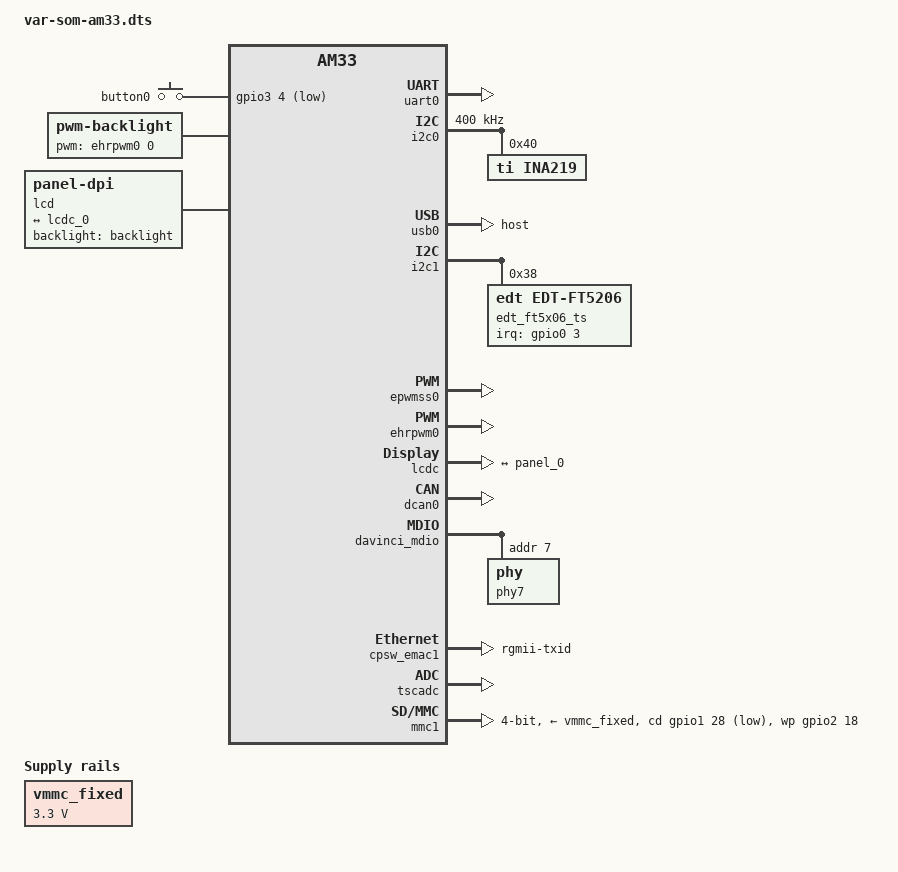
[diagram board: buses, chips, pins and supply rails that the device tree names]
// SPDX-License-Identifier: GPL-2.0-only
/*
 * Copyright (C) 2023 Variscite LTD - http://www.variscite.com/
 */

#include "var-som-am33.dtsi"

/ {
	chosen {
		stdout-path = &uart0;
	};

	vmmc_fixed: fixedregulator2 {
		compatible = "regulator-fixed";
		regulator-name = "vmmc_fixed";
		regulator-min-microvolt = <3300000>;
		regulator-max-microvolt = <3300000>;
		regulator-always-on;
		regulator-boot-on;
	};

	gpio_keys: gpio_keys0 {
		compatible = "gpio-keys";
		pinctrl-names = "default";
		pinctrl-0 = <&gpio_keys_s0>;
		#address-cells = <1>;
		#size-cells = <0>;

		switch1 {
			label = "button0";
			linux,code = <0x100>;
			gpios = <&gpio3 4 GPIO_ACTIVE_LOW>;
			gpio-key,wakeup;
		};
	};

	backlight: backlight {
		compatible = "pwm-backlight";
		pwms = <&ehrpwm0 0 50000 0>;
		brightness-levels = <0 58 61 66 75 90 125 170 255>;
		default-brightness-level = <8>;
	};

	panel {
		compatible = "panel-dpi";
		label = "lcd";

		pinctrl-names = "default";
		pinctrl-0 = <&lcd_pins>;
		backlight = <&backlight>;

		port {
			panel_0: endpoint@0 {
				remote-endpoint = <&lcdc_0>;
			};
		};

		panel-timing {
			clock-frequency = <30000000>;
			hactive = <800>;
			vactive = <480>;
			hfront-porch = <39>;
			hback-porch = <39>;
			hsync-len = <47>;
			vback-porch = <29>;
			vfront-porch = <13>;
			vsync-len = <2>;
			hsync-active = <1>;
			vsync-active = <1>;
			de-active = <1>;
			pixelclk-active = <1>;
		};
	};
};

&am33xx_pinmux {
	gpio_keys_s0: pinmux_gpio_keys_s0 {
		pinctrl-single,pins = <
			AM33XX_PADCONF(AM335X_PIN_MII1_RX_DV, PIN_INPUT_PULLUP, MUX_MODE7)	/* mii1_rxdv.gpio3_4 */
		>;
	};

	i2c0_pins: pinmux_i2c0_pins {
		pinctrl-single,pins = <
			AM33XX_PADCONF(AM335X_PIN_I2C0_SDA, PIN_INPUT_PULLUP, MUX_MODE0)	/* i2c0_sda.i2c0_sda */
			AM33XX_PADCONF(AM335X_PIN_I2C0_SCL, PIN_INPUT_PULLUP, MUX_MODE0)	/* i2c0_scl.i2c0_scl */
		>;
	};

	uart0_pins: pinmux_uart0_pins {
		pinctrl-single,pins = <
			AM33XX_PADCONF(AM335X_PIN_UART0_RXD, PIN_INPUT_PULLUP, MUX_MODE0)	/* uart0_rxd.uart0_rxd */
			AM33XX_PADCONF(AM335X_PIN_UART0_TXD, PIN_OUTPUT_PULLDOWN, MUX_MODE0)	/* uart0_txd.uart0_txd */
		>;
	};

	ehrpwm_pins: pinmux_ehrpwm_pins {
		pinctrl-single,pins = <
			AM33XX_PADCONF(AM335X_PIN_SPI0_SCLK, PIN_OUTPUT_PULLDOWN, MUX_MODE3)	/* spi0_sclk.ehrpwm0a */
		>;
	};

	cpsw_slave2_default: pinmux_cpsw_slave2_default {
		pinctrl-single,pins = <
			/* Slave 2 */
			AM33XX_PADCONF(AM335X_PIN_GPMC_A0, PIN_OUTPUT, MUX_MODE2)		/* gpmc_a0.rgmii2_tctl */
			AM33XX_PADCONF(AM335X_PIN_GPMC_A1, PIN_INPUT_PULLDOWN, MUX_MODE2)	/* gpmc_a1.rgmii2_rctl */
			AM33XX_PADCONF(AM335X_PIN_GPMC_A2, PIN_OUTPUT, MUX_MODE2)		/* gpmc_a2.rgmii2_td3 */
			AM33XX_PADCONF(AM335X_PIN_GPMC_A3, PIN_OUTPUT, MUX_MODE2)		/* gpmc_a3.rgmii2_td2 */
			AM33XX_PADCONF(AM335X_PIN_GPMC_A4, PIN_OUTPUT, MUX_MODE2)		/* gpmc_a4.rgmii2_td1 */
			AM33XX_PADCONF(AM335X_PIN_GPMC_A5, PIN_OUTPUT, MUX_MODE2)		/* gpmc_a5.rgmii2_td0 */
			AM33XX_PADCONF(AM335X_PIN_GPMC_A6, PIN_OUTPUT, MUX_MODE2)		/* gpmc_a6.rgmii2_tclk */
			AM33XX_PADCONF(AM335X_PIN_GPMC_A7, PIN_INPUT_PULLDOWN, MUX_MODE2)	/* gpmc_a7.rgmii2_rclk */
			AM33XX_PADCONF(AM335X_PIN_GPMC_A8, PIN_INPUT_PULLDOWN, MUX_MODE2)	/* gpmc_a8.rgmii2_rd3 */
			AM33XX_PADCONF(AM335X_PIN_GPMC_A9, PIN_INPUT_PULLDOWN, MUX_MODE2)	/* gpmc_a9.rgmii2_rd2 */
			AM33XX_PADCONF(AM335X_PIN_GPMC_A10, PIN_INPUT_PULLDOWN, MUX_MODE2)	/* gpmc_a10.rgmii2_rd1 */
			AM33XX_PADCONF(AM335X_PIN_GPMC_A11, PIN_INPUT_PULLDOWN, MUX_MODE2)	/* gpmc_a11.rgmii2_rd0 */
			AM33XX_PADCONF(AM335X_PIN_MII1_COL, PIN_INPUT_PULLDOWN, MUX_MODE1)	/* mii1_col.rmii2_refclk */
			AM33XX_PADCONF(AM335X_PIN_MII1_RX_CLK, PIN_INPUT_PULLUP, MUX_MODE7)	/* mii1_rxclk.gpio3_10 */
		>;
	};

	cpsw_slave2_sleep: pinmux_cpsw_slave2_sleep {
		pinctrl-single,pins = <
			/* Slave 2 reset value */
			AM33XX_PADCONF(AM335X_PIN_GPMC_A0, PIN_INPUT_PULLDOWN, MUX_MODE7)	/* gpmc_a0.gpio */
			AM33XX_PADCONF(AM335X_PIN_GPMC_A1, PIN_INPUT_PULLDOWN, MUX_MODE7)	/* gpmc_a1.gpio */
			AM33XX_PADCONF(AM335X_PIN_GPMC_A2, PIN_INPUT_PULLDOWN, MUX_MODE7)	/* gpmc_a2.gpio */
			AM33XX_PADCONF(AM335X_PIN_GPMC_A3, PIN_INPUT_PULLDOWN, MUX_MODE7)	/* gpmc_a3.gpio */
			AM33XX_PADCONF(AM335X_PIN_GPMC_A4, PIN_INPUT_PULLDOWN, MUX_MODE7)	/* gpmc_a4.gpio */
			AM33XX_PADCONF(AM335X_PIN_GPMC_A5, PIN_INPUT_PULLDOWN, MUX_MODE7)	/* gpmc_a5.gpio */
			AM33XX_PADCONF(AM335X_PIN_GPMC_A6, PIN_INPUT_PULLDOWN, MUX_MODE7)	/* gpmc_a6.gpio */
			AM33XX_PADCONF(AM335X_PIN_GPMC_A7, PIN_INPUT_PULLDOWN, MUX_MODE7)	/* gpmc_a7.gpio */
			AM33XX_PADCONF(AM335X_PIN_GPMC_A8, PIN_INPUT_PULLDOWN, MUX_MODE7)	/* gpmc_a8.gpio */
			AM33XX_PADCONF(AM335X_PIN_GPMC_A9, PIN_INPUT_PULLDOWN, MUX_MODE7)	/* gpmc_a9.gpio */
			AM33XX_PADCONF(AM335X_PIN_GPMC_A10, PIN_INPUT_PULLDOWN, MUX_MODE7)	/* gpmc_a10.gpio */
			AM33XX_PADCONF(AM335X_PIN_GPMC_A11, PIN_INPUT_PULLDOWN, MUX_MODE7)	/* gpmc_a11.gpio */
			AM33XX_PADCONF(AM335X_PIN_MII1_COL, PIN_INPUT_PULLDOWN, MUX_MODE7)	/* mii1_col.gpio */
			AM33XX_PADCONF(AM335X_PIN_MII1_RX_CLK, PIN_INPUT_PULLUP, MUX_MODE7)	/* mii1_rxclk.gpio3_10 */
		>;
	};

	mmc1_pins_default: pinmux_mmc1_pins_default {
		pinctrl-single,pins = <
			AM33XX_PADCONF(AM335X_PIN_MMC0_DAT3, PIN_INPUT_PULLUP, MUX_MODE0)	/* mmc0_dat3.mmc0_dat3 */
			AM33XX_PADCONF(AM335X_PIN_MMC0_DAT2, PIN_INPUT_PULLUP, MUX_MODE0)	/* mmc0_dat2.mmc0_dat2 */
			AM33XX_PADCONF(AM335X_PIN_MMC0_DAT1, PIN_INPUT_PULLUP, MUX_MODE0)	/* mmc0_dat1.mmc0_dat1 */
			AM33XX_PADCONF(AM335X_PIN_MMC0_DAT0, PIN_INPUT_PULLUP, MUX_MODE0)	/* mmc0_dat0.mmc0_dat0 */
			AM33XX_PADCONF(AM335X_PIN_MMC0_CLK, PIN_INPUT_PULLUP, MUX_MODE0)	/* mmc0_clk.mmc0_clk */
			AM33XX_PADCONF(AM335X_PIN_MMC0_CMD, PIN_INPUT_PULLUP, MUX_MODE0)	/* mmc0_cmd.mmc0_cmd */
			AM33XX_PADCONF(AM335X_PIN_GPMC_BEN1, PIN_INPUT_PULLUP, MUX_MODE7)	/* gpmc_ben1.gpio1_28 */
			AM33XX_PADCONF(AM335X_PIN_MII1_RXD3, PIN_INPUT_PULLUP, MUX_MODE7)	/* mii1_rxd3.gpio2_18 */
		>;
	};

	mmc1_pins_sleep: pinmux_mmc1_pins_sleep {
		pinctrl-single,pins = <
			AM33XX_PADCONF(AM335X_PIN_MMC0_DAT3, PIN_INPUT_PULLDOWN, MUX_MODE7)	/* mmc0_dat3.gpio */
			AM33XX_PADCONF(AM335X_PIN_MMC0_DAT2, PIN_INPUT_PULLDOWN, MUX_MODE7)	/* mmc0_dat2.gpio */
			AM33XX_PADCONF(AM335X_PIN_MMC0_DAT1, PIN_INPUT_PULLDOWN, MUX_MODE7)	/* mmc0_dat1.gpio */
			AM33XX_PADCONF(AM335X_PIN_MMC0_DAT0, PIN_INPUT_PULLDOWN, MUX_MODE7)	/* mmc0_dat0.gpio */
			AM33XX_PADCONF(AM335X_PIN_MMC0_CLK, PIN_INPUT_PULLDOWN, MUX_MODE7)	/* mmc0_clk.gpio */
			AM33XX_PADCONF(AM335X_PIN_MMC0_CMD, PIN_INPUT_PULLDOWN, MUX_MODE7)	/* mmc0_cmd.gpio */
			AM33XX_PADCONF(AM335X_PIN_GPMC_BEN1, PIN_INPUT_PULLDOWN, MUX_MODE7)	/* gpmc_ben1.gpio1_28 */
			AM33XX_PADCONF(AM335X_PIN_MII1_RXD3, PIN_INPUT_PULLDOWN, MUX_MODE7)	/* mii1_rxd3.gpio2_18 */
		>;
	};

	lcd_pins: lcd_pins {
		pinctrl-single,pins = <
			AM33XX_PADCONF(AM335X_PIN_LCD_DATA0, PIN_OUTPUT, MUX_MODE0)	/* lcd_data0.lcd_data0 */
			AM33XX_PADCONF(AM335X_PIN_LCD_DATA1, PIN_OUTPUT, MUX_MODE0)	/* lcd_data1.lcd_data1 */
			AM33XX_PADCONF(AM335X_PIN_LCD_DATA2, PIN_OUTPUT, MUX_MODE0)	/* lcd_data2.lcd_data2 */
			AM33XX_PADCONF(AM335X_PIN_LCD_DATA3, PIN_OUTPUT, MUX_MODE0)	/* lcd_data3.lcd_data3 */
			AM33XX_PADCONF(AM335X_PIN_LCD_DATA4, PIN_OUTPUT, MUX_MODE0)	/* lcd_data4.lcd_data4 */
			AM33XX_PADCONF(AM335X_PIN_LCD_DATA5, PIN_OUTPUT, MUX_MODE0)	/* lcd_data5.lcd_data5 */
			AM33XX_PADCONF(AM335X_PIN_LCD_DATA6, PIN_OUTPUT, MUX_MODE0)	/* lcd_data6.lcd_data6 */
			AM33XX_PADCONF(AM335X_PIN_LCD_DATA7, PIN_OUTPUT, MUX_MODE0)	/* lcd_data7.lcd_data7 */
			AM33XX_PADCONF(AM335X_PIN_LCD_DATA8, PIN_OUTPUT, MUX_MODE0)	/* lcd_data8.lcd_data8 */
			AM33XX_PADCONF(AM335X_PIN_LCD_DATA9, PIN_OUTPUT, MUX_MODE0)	/* lcd_data9.lcd_data9 */
			AM33XX_PADCONF(AM335X_PIN_LCD_DATA10, PIN_OUTPUT, MUX_MODE0)	/* lcd_data10.lcd_data10 */
			AM33XX_PADCONF(AM335X_PIN_LCD_DATA11, PIN_OUTPUT, MUX_MODE0)	/* lcd_data11.lcd_data11 */
			AM33XX_PADCONF(AM335X_PIN_LCD_DATA12, PIN_OUTPUT, MUX_MODE0)	/* lcd_data12.lcd_data12 */
			AM33XX_PADCONF(AM335X_PIN_LCD_DATA13, PIN_OUTPUT, MUX_MODE0)	/* lcd_data13.lcd_data13 */
			AM33XX_PADCONF(AM335X_PIN_LCD_DATA14, PIN_OUTPUT, MUX_MODE0)	/* lcd_data14.lcd_data14 */
			AM33XX_PADCONF(AM335X_PIN_LCD_DATA15, PIN_OUTPUT, MUX_MODE0)	/* lcd_data15.lcd_data15 */
			AM33XX_PADCONF(AM335X_PIN_LCD_VSYNC, PIN_OUTPUT, MUX_MODE0)	/* lcd_vsync.lcd_vsync */
			AM33XX_PADCONF(AM335X_PIN_LCD_HSYNC, PIN_OUTPUT, MUX_MODE0)	/* lcd_hsync.lcd_hsync */
			AM33XX_PADCONF(AM335X_PIN_LCD_PCLK, PIN_OUTPUT, MUX_MODE0)	/* lcd_pclk.lcd_pclk */
			AM33XX_PADCONF(AM335X_PIN_LCD_AC_BIAS_EN, PIN_OUTPUT, MUX_MODE0)	/* lcd_ac_bias_en.lcd_ac_bias_en */
		>;
	};

	/* Touchscreen irq GPIO. */
	edt_ft5x06_pins: pinmux_edt_pins {
		pinctrl-single,pins = <
			AM33XX_PADCONF(AM335X_PIN_SPI0_D0, PIN_INPUT, MUX_MODE7)		/* spi0_d0.gpio0_3 */
		>;
	};

	dcan0_pins: pinmux_dcan0_pins {
		pinctrl-single,pins = <
			AM33XX_PADCONF(AM335X_PIN_MII1_TXD3, PIN_OUTPUT_PULLDOWN, MUX_MODE1)	/* mii1_txd3. */
			AM33XX_PADCONF(AM335X_PIN_MII1_TXD2, PIN_INPUT_PULLUP, MUX_MODE1)	/* mii1_txd2. */
		>;
	};

	spi1_pins_default: pinmux_spi1_pins_default {
		pinctrl-single,pins = <
			AM33XX_PADCONF(AM335X_PIN_ECAP0_IN_PWM0_OUT, PIN_INPUT, MUX_MODE4)	/* ecap0_in_pwm0_out.spi1_sclk */
			AM33XX_PADCONF(AM335X_PIN_UART0_CTSN, PIN_INPUT, MUX_MODE4)		/* uart0_ctsn.spi1_d0 */
			AM33XX_PADCONF(AM335X_PIN_UART0_RTSN, PIN_OUTPUT, MUX_MODE4)		/* uart0_rtsn.spi1_d1 */
			AM33XX_PADCONF(AM335X_PIN_MCASP0_AHCLKR, PIN_OUTPUT, MUX_MODE3)		/* mcasp0_ahclkr.spi1_cs0 */
		>;
	};

	spi1_pins_sleep: pinmux_spi1_pins_sleep {
		pinctrl-single,pins = <
			AM33XX_PADCONF(AM335X_PIN_ECAP0_IN_PWM0_OUT, PIN_INPUT_PULLDOWN, MUX_MODE7)	/* ecap0_in_pwm0_out.gpio */
			AM33XX_PADCONF(AM335X_PIN_UART0_CTSN, PIN_INPUT_PULLDOWN, MUX_MODE7)		/* uart0_ctsn.gpio */
			AM33XX_PADCONF(AM335X_PIN_UART0_RTSN, PIN_INPUT_PULLDOWN, MUX_MODE7)		/* uart0_rtsn.gpio */
			AM33XX_PADCONF(AM335X_PIN_MCASP0_AHCLKR, PIN_INPUT_PULLDOWN, MUX_MODE7)		/* mcasp0_ahclkr.gpio */
		>;
	};
};

&uart0 {
	pinctrl-names = "default";
	pinctrl-0 = <&uart0_pins>;
	status = "okay";
};

&i2c0 {
	pinctrl-names = "default";
	pinctrl-0 = <&i2c0_pins>;

	status = "okay";
	clock-frequency = <400000>;

	ina219@40 {
		compatible = "ti,ina219";
		reg = <0x40>;
		shunt-resistor = <50000>;
	};
};

&usb0 {
	dr_mode = "host";
};

&i2c1 {
	edt_ft5x06_ts@38 {
		status = "okay";
		compatible = "edt,edt-ft5206";
		pinctrl-names = "default";
		pinctrl-0 = <&edt_ft5x06_pins>;
		reg = <0x38>;
		interrupt-parent = <&gpio0>;
		interrupts = <3 IRQ_TYPE_NONE>;
	};
};

&epwmss0 {
	status = "okay";
};

&ehrpwm0 {
	status = "okay";
	pinctrl-names = "default";
	pinctrl-0 = <&ehrpwm_pins>;
};

&lcdc {
	status = "okay";
	blue-and-red-wiring = "crossed";
	port {
		lcdc_0: endpoint@0 {
			remote-endpoint = <&panel_0>;
		};
	};
};

&dcan0 {
	pinctrl-names = "default";
	pinctrl-0 = <&dcan0_pins>;
	status = "okay";
};

&mac {
	pinctrl-names = "default", "sleep";
	pinctrl-0 = <&cpsw_slave1_default &cpsw_slave2_default>;
	pinctrl-1 = <&cpsw_slave1_sleep &cpsw_slave2_sleep>;
	dual_emac = <1>;
};

&davinci_mdio {
	phy7: phy@7 {
		reg = <7>;
		rxc-skew-ps = <3000>;
		rxdv-skew-ps = <0>;
		txc-skew-ps = <3000>;
		txen-skew-ps = <0>;
		rxd0-skew-ps = <0>;
		rxd1-skew-ps = <0>;
		rxd2-skew-ps = <0>;
		rxd3-skew-ps = <0>;
		txd0-skew-ps = <0>;
		txd1-skew-ps = <0>;
		txd2-skew-ps = <0>;
		txd3-skew-ps = <0>;
	};
};

&cpsw_emac1 {
	phy_id = <&davinci_mdio>, <7>;
	phy-mode = "rgmii-txid";
	dual_emac_res_vlan = <2>;
};

&tscadc {
	status = "okay";
	tsc {
		ti,wires = <4>;
		ti,x-plate-resistance = <180>;
		ti,coordinate-readouts = <5>;
		ti,wire-config = <0x00 0x21 0x12 0x33>;
		ti,charge-delay = <0x700>;
		ti,pins-config = <0x0020 0x0400 0x0200 0x0100>; /* STEPCONFIG_XPP STEPCONFIG_YPN STEPCONFIG_XNP STEPCONFIG_YNN */
		ti,idle-config = <0x00440140>; /* STEPCONFIG_YNN | STEPCONFIG_INM_ADCREFM | STEPCONFIG_INP_ADCREFM | STEPCONFIG_XNN */
	};

	adc {
		ti,adc-channels = <4 5 6 7>;
	};
};

&mmc1 {
	status = "okay";
	vmmc-supply = <&vmmc_fixed>;
	bus-width = <4>;
	pinctrl-names = "default", "sleep";
	pinctrl-0 = <&mmc1_pins_default>;
	pinctrl-1 = <&mmc1_pins_sleep>;
	cd-gpios = <&gpio1 28 GPIO_ACTIVE_LOW>;
	wp-gpios = <&gpio2 18 GPIO_ACTIVE_HIGH>;
};

&spi1 {
	status = "disabled";

	/* NOTE: In order to use SPI on VAR-SOM-AM33 CustomBoard -
	 *	1) Need to remove R9 and R10 resistors from the CustomBoard.
	 *	2) Need to also remove U21 from the CustomBoard.
	 */

	pinctrl-names = "default", "sleep";
	pinctrl-0 = <&spi1_pins_default>;
	pinctrl-1 = <&spi1_pins_sleep>;

	spidev0: spi@0 {
		compatible = "spidev";
		reg = <0>;
		spi-max-frequency = <16000000>;
		spi-cpha;
	};

	spidev1: spi@1 {
		compatible = "spidev";
		reg = <1>;
		spi-max-frequency = <16000000>;
	};
};
